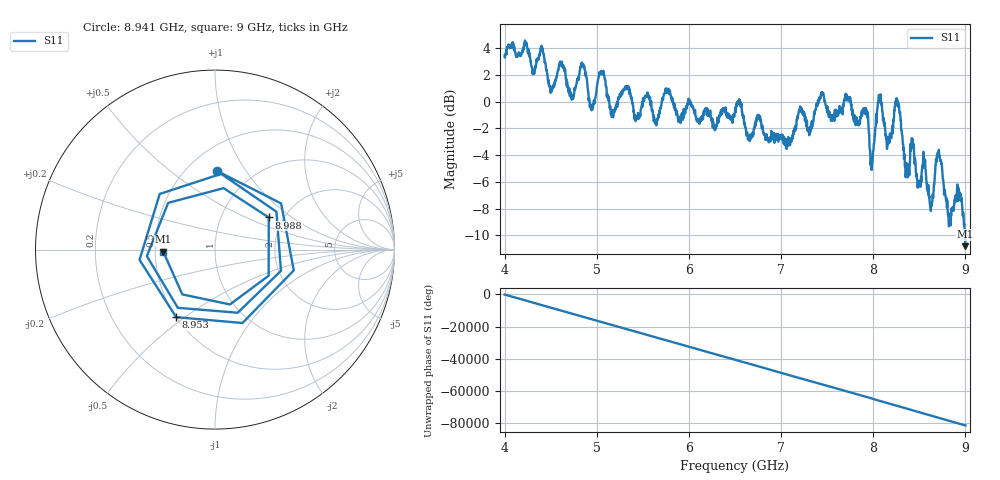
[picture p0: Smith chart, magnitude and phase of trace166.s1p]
! Created with skrf 1.8.0 (http://scikit-rf.org).
# Hz S RI R 50.0
!freq ReS11 ImS11
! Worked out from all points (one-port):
!   1601 points, 4 GHz to 9 GHz, reference 50 ohm
!   lowest |S11| = -10.8 dB at 9 GHz (marker M1), VSWR 1.81, Z = 27.6 - j0.724 ohm
!   |S11| at or under -10 dB: 8.99419 GHz to end of sweep
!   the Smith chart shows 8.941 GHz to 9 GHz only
!   S11 on the Smith chart (normalised r, x): 8.941 GHz: 0.69, +0.75; 8.953 GHz: 0.50, -0.46; 8.988 GHz: 1.68, +0.68; 9 GHz: 0.55, -0.01
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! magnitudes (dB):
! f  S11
! 4 GHz  3.5
! 4.406 GHz  3.8
! 4.506 GHz  0.8
! 4.625 GHz  2.8
! 4.731 GHz  0.4
! 4.844 GHz  2.8
! 4.938 GHz  -0.6
! 5.053 GHz  2.3
! 5.162 GHz  -1.1
! 5.25 GHz  0.6
! 5.875 GHz  -0.9
! 6.5 GHz  -0.7
! 7.125 GHz  -2.5
! 7.75 GHz  0.3
! 7.919 GHz  -0.6
! 7.984 GHz  -5.1
! 8.062 GHz  0.5
! 8.166 GHz  -3.1
! 8.266 GHz  -0.3
! 8.375 GHz  -5.0
! 8.428 GHz  -2.8
! 8.631 GHz  -7.8
! 8.716 GHz  -4.1
! 8.822 GHz  -9.3
! 8.941 GHz  -7.1
! 8.953 GHz  -7.2
! 8.988 GHz  -9.1
! 9 GHz  -10.8
